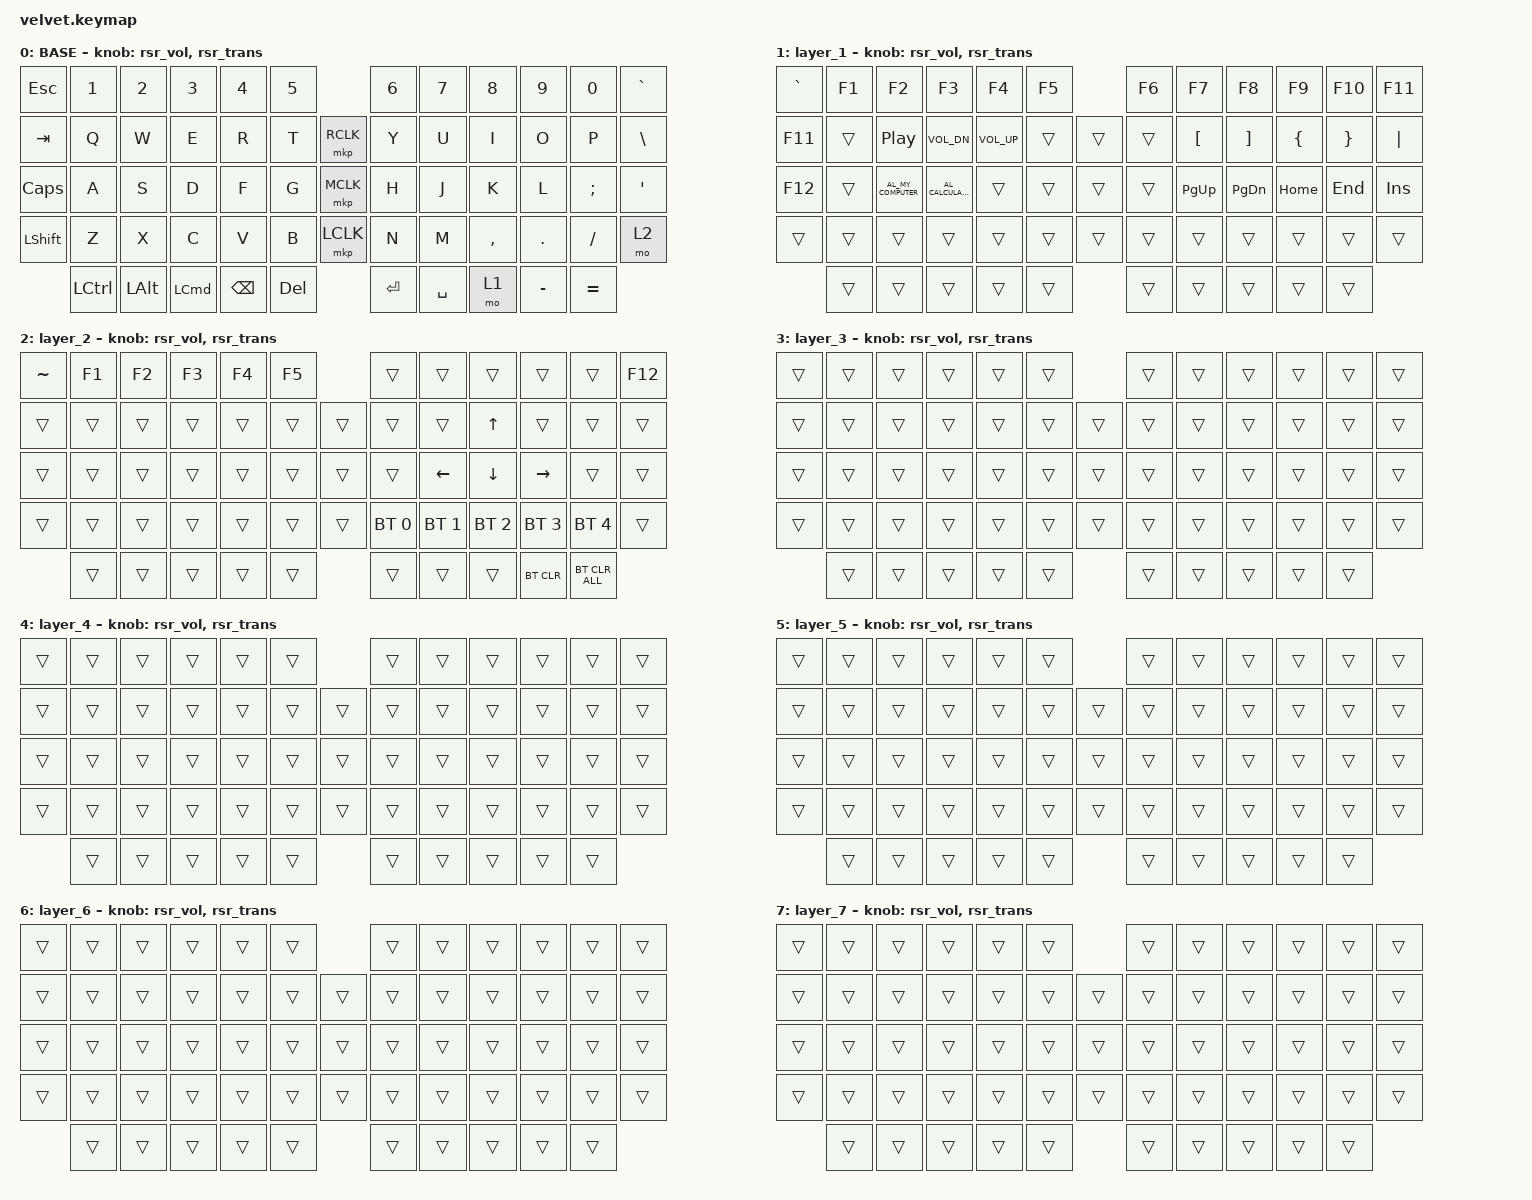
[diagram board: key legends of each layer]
#define BASE 0
#define LOWER 1
#define MOUSE_KEYS 2
#define MOUSE_TP 3
#define MOUSE_TP_SET 4

#include <zephyr/dt-bindings/input/input-event-codes.h>
#include <behaviors/toggle_io.dtsi>
#include <behaviors/on_io.dtsi>
#include <behaviors/off_io.dtsi>
#include <input/processors.dtsi>
#include <behaviors/runtime-sensor-rotate.dtsi>
#include <behaviors.dtsi>
#include <dt-bindings/zmk/bt.h>
#include <dt-bindings/zmk/keys.h>
#include <dt-bindings/zmk/pointing.h>

&mmv_input_listener { input-processors = <&zip_xy_scaler 2 1>; };

&msc_input_listener { input-processors = <&zip_scroll_scaler 2 1>; };

&msc {
    acceleration-exponent = <1>;      // 0
    time-to-max-speed-ms = <100>;       // 300
    delay-ms = <0>;                   // 0
};

&mmv {
    time-to-max-speed-ms = <500>;
    acceleration-exponent = <1>;
    trigger-period-ms = <16>;
};

/ {
    behaviors {
        ltq: ltq {
            compatible = "zmk,behavior-hold-tap";
            label = "LTQ";
            bindings = <&mo>, <&kp>;

            #binding-cells = <2>;
            tapping-term-ms = <200>;
            quick-tap-ms = <180>;
        };

        rsr_vol: rsr_vol {
            compatible = "zmk,behavior-runtime-sensor-rotate";
            #sensor-binding-cells = <0>;
            tap-ms = <5>;
            cw-binding = <&kp C_VOL_DN>;
            ccw-binding = <&kp C_VOL_UP>;
        };

        rsr_trans: rsr_trans {
            compatible = "zmk,behavior-runtime-sensor-rotate";
            #sensor-binding-cells = <0>;
            tap-ms = <5>;
            cw-binding = <&trans>;
            ccw-binding = <&trans>;
        };
    };

    combos {
        compatible = "zmk,combos";

        flash {
            bindings = <&bootloader>;
            key-positions = <0 11>;
        };
    };

    keymap {
        compatible = "zmk,keymap";

        BASE {
            bindings = <
&kp ESC    &kp N1     &kp N2        &kp N3        &kp N4         &kp N5                 &kp NUMBER_6  &kp N7     &kp N8     &kp N9      &kp N0     &kp GRAVE
&kp TAB    &kp Q      &kp W         &kp E         &kp R          &kp T       &mkp RCLK  &kp Y         &kp U      &kp I      &kp O       &kp P      &kp BSLH
&kp CAPS   &kp A      &kp S         &kp D         &kp F          &kp G       &mkp MCLK  &kp H         &kp J      &kp K      &kp L       &kp SEMI   &kp APOS
&kp LSHFT  &kp Z      &kp X         &kp C         &kp V          &kp B       &mkp LCLK  &kp N         &kp M      &kp COMMA  &kp PERIOD  &kp SLASH  &mo 2
           &kp LCTRL  &kp LEFT_ALT  &kp LEFT_COMMAND  &kp BACKSPACE  &kp DELETE            &kp ENTER     &kp SPACE  &mo 1      &kp MINUS   &kp EQUAL
            >;

            label = "BASE";
            sensor-bindings = <&rsr_vol>, <&rsr_trans>;
        };

        layer_1 {
            bindings = <
&kp GRAVE  &kp F1  &kp F2                &kp F3                &kp F4           &kp F5          &kp F6  &kp F7            &kp F8             &kp F9          &kp F10          &kp F11
&kp F11    &trans  &kp C_PLAY_PAUSE      &kp C_VOL_DN          &kp C_VOLUME_UP  &trans  &trans  &trans  &kp LEFT_BRACKET  &kp RIGHT_BRACKET  &kp LEFT_BRACE  &kp RIGHT_BRACE  &kp PIPE
&kp F12    &trans  &kp C_AL_MY_COMPUTER  &kp C_AL_CALCULATOR  &trans           &trans  &trans  &trans  &kp PAGE_UP       &kp PAGE_DOWN      &kp HOME        &kp END          &kp INSERT
&trans     &trans  &trans                &trans                &trans           &trans  &trans  &trans  &trans            &trans             &trans          &trans           &trans
           &trans  &trans                &trans                &trans           &trans          &trans  &trans            &trans             &trans          &trans
            >;

            sensor-bindings = <&rsr_vol>, <&rsr_trans>;
        };

        layer_2 {
            bindings = <
&kp TILDE  &kp F1  &kp F2  &kp F3  &kp F4  &kp F5          &trans        &trans        &trans        &trans        &trans          &kp F12
&trans     &trans  &trans  &trans  &trans  &trans  &trans  &trans        &trans        &kp UP_ARROW  &trans        &trans          &trans
&trans     &trans  &trans  &trans  &trans  &trans  &trans  &trans        &kp LEFT      &kp DOWN      &kp RIGHT     &trans          &trans
&trans     &trans  &trans  &trans  &trans  &trans  &trans  &bt BT_SEL 0  &bt BT_SEL 1  &bt BT_SEL 2  &bt BT_SEL 3  &bt BT_SEL 4    &trans
           &trans  &trans  &trans  &trans  &trans          &trans        &trans        &trans        &bt BT_CLR    &bt BT_CLR_ALL
            >;

            sensor-bindings = <&rsr_vol>, <&rsr_trans>;
        };

        layer_3 {
            bindings = <
&trans  &trans  &trans  &trans  &trans  &trans          &trans  &trans  &trans  &trans  &trans  &trans
&trans  &trans  &trans  &trans  &trans  &trans  &trans  &trans  &trans  &trans  &trans  &trans  &trans
&trans  &trans  &trans  &trans  &trans  &trans  &trans  &trans  &trans  &trans  &trans  &trans  &trans
&trans  &trans  &trans  &trans  &trans  &trans  &trans  &trans  &trans  &trans  &trans  &trans  &trans
        &trans  &trans  &trans  &trans  &trans          &trans  &trans  &trans  &trans  &trans
            >;

            sensor-bindings = <&rsr_vol>, <&rsr_trans>;
        };

        layer_4 {
            bindings = <
&trans  &trans  &trans  &trans  &trans  &trans          &trans  &trans  &trans  &trans  &trans  &trans
&trans  &trans  &trans  &trans  &trans  &trans  &trans  &trans  &trans  &trans  &trans  &trans  &trans
&trans  &trans  &trans  &trans  &trans  &trans  &trans  &trans  &trans  &trans  &trans  &trans  &trans
&trans  &trans  &trans  &trans  &trans  &trans  &trans  &trans  &trans  &trans  &trans  &trans  &trans
        &trans  &trans  &trans  &trans  &trans          &trans  &trans  &trans  &trans  &trans
            >;

            sensor-bindings = <&rsr_vol>, <&rsr_trans>;
        };

        layer_5 {
            bindings = <
&trans  &trans  &trans  &trans  &trans  &trans          &trans  &trans  &trans  &trans  &trans  &trans
&trans  &trans  &trans  &trans  &trans  &trans  &trans  &trans  &trans  &trans  &trans  &trans  &trans
&trans  &trans  &trans  &trans  &trans  &trans  &trans  &trans  &trans  &trans  &trans  &trans  &trans
&trans  &trans  &trans  &trans  &trans  &trans  &trans  &trans  &trans  &trans  &trans  &trans  &trans
        &trans  &trans  &trans  &trans  &trans          &trans  &trans  &trans  &trans  &trans
            >;

            sensor-bindings = <&rsr_vol>, <&rsr_trans>;
        };

        layer_6 {
            bindings = <
&trans  &trans  &trans  &trans  &trans  &trans          &trans  &trans  &trans  &trans  &trans  &trans
&trans  &trans  &trans  &trans  &trans  &trans  &trans  &trans  &trans  &trans  &trans  &trans  &trans
&trans  &trans  &trans  &trans  &trans  &trans  &trans  &trans  &trans  &trans  &trans  &trans  &trans
&trans  &trans  &trans  &trans  &trans  &trans  &trans  &trans  &trans  &trans  &trans  &trans  &trans
        &trans  &trans  &trans  &trans  &trans          &trans  &trans  &trans  &trans  &trans
            >;

            sensor-bindings = <&rsr_vol>, <&rsr_trans>;
        };

        layer_7 {
            bindings = <
&trans  &trans  &trans  &trans  &trans  &trans          &trans  &trans  &trans  &trans  &trans  &trans
&trans  &trans  &trans  &trans  &trans  &trans  &trans  &trans  &trans  &trans  &trans  &trans  &trans
&trans  &trans  &trans  &trans  &trans  &trans  &trans  &trans  &trans  &trans  &trans  &trans  &trans
&trans  &trans  &trans  &trans  &trans  &trans  &trans  &trans  &trans  &trans  &trans  &trans  &trans
        &trans  &trans  &trans  &trans  &trans          &trans  &trans  &trans  &trans  &trans
            >;

            sensor-bindings = <&rsr_vol>, <&rsr_trans>;
        };
    };
};
